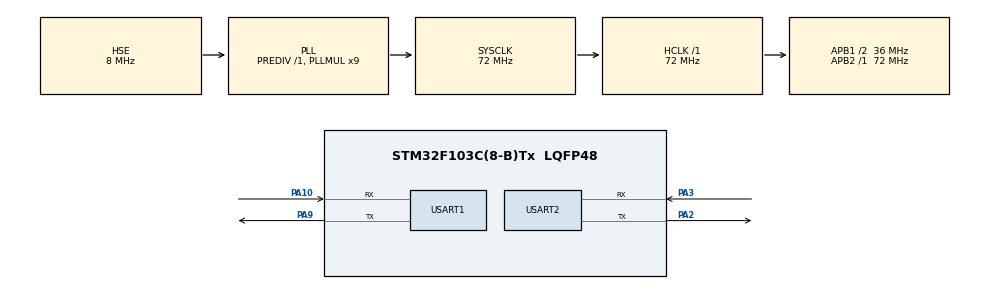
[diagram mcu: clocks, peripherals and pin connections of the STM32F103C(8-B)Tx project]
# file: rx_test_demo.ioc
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Dma.Request0=USART1_RX
Dma.Request1=USART2_RX
Dma.Request2=USART2_TX
Dma.USART1_RX.0.Direction=DMA_PERIPH_TO_MEMORY
Dma.USART1_RX.0.Instance=DMA1_Channel5
Dma.USART1_RX.0.MemDataAlignment=DMA_MDATAALIGN_BYTE
Dma.USART1_RX.0.MemInc=DMA_MINC_ENABLE
Dma.USART1_RX.0.Mode=DMA_NORMAL
Dma.USART1_RX.0.PeriphDataAlignment=DMA_PDATAALIGN_BYTE
Dma.USART1_RX.0.PeriphInc=DMA_PINC_DISABLE
Dma.USART1_RX.0.Priority=DMA_PRIORITY_LOW
Dma.USART2_RX.1.Direction=DMA_PERIPH_TO_MEMORY
Dma.USART2_RX.1.Instance=DMA1_Channel6
Dma.USART2_RX.1.MemDataAlignment=DMA_MDATAALIGN_BYTE
Dma.USART2_RX.1.MemInc=DMA_MINC_ENABLE
Dma.USART2_RX.1.Mode=DMA_NORMAL
Dma.USART2_RX.1.PeriphDataAlignment=DMA_PDATAALIGN_BYTE
Dma.USART2_RX.1.PeriphInc=DMA_PINC_DISABLE
Dma.USART2_RX.1.Priority=DMA_PRIORITY_LOW
Dma.USART2_TX.2.Direction=DMA_MEMORY_TO_PERIPH
Dma.USART2_TX.2.Instance=DMA1_Channel7
Dma.USART2_TX.2.MemDataAlignment=DMA_MDATAALIGN_BYTE
Dma.USART2_TX.2.MemInc=DMA_MINC_ENABLE
Dma.USART2_TX.2.Mode=DMA_NORMAL
Dma.USART2_TX.2.PeriphDataAlignment=DMA_PDATAALIGN_BYTE
Dma.USART2_TX.2.PeriphInc=DMA_PINC_DISABLE
Dma.USART2_TX.2.Priority=DMA_PRIORITY_LOW
Mcu.Family=STM32F1
Mcu.Name=STM32F103C(8-B)Tx
Mcu.Package=LQFP48
NVIC.DMA1_Channel5_IRQn=true\:0\:0\:false\:false\:true\:false\:true\:true
NVIC.DMA1_Channel6_IRQn=true\:0\:0\:false\:false\:true\:false\:true\:true
NVIC.DMA1_Channel7_IRQn=true\:0\:0\:false\:false\:true\:false\:true\:true
NVIC.PriorityGroup=NVIC_PRIORITYGROUP_4
NVIC.TIM1_UP_IRQn=true\:15\:0\:false\:false\:true\:false\:true\:true
NVIC.TimeBase=TIM1_UP_IRQn
NVIC.TimeBaseIP=TIM1
NVIC.USART1_IRQn=true\:5\:0\:true\:false\:true\:true\:true\:true
NVIC.USART2_IRQn=true\:0\:0\:false\:false\:true\:true\:true\:true
PA10.Mode=Asynchronous
PA10.Signal=USART1_RX
PA13.Mode=Serial_Wire
PA13.Signal=SYS_JTMS-SWDIO
PA14.Mode=Serial_Wire
PA14.Signal=SYS_JTCK-SWCLK
PA2.Mode=Asynchronous
PA2.Signal=USART2_TX
PA3.Mode=Asynchronous
PA3.Signal=USART2_RX
PA9.Mode=Asynchronous
PA9.Signal=USART1_TX
PD0-OSC_IN.Mode=HSE-External-Oscillator
PD0-OSC_IN.Signal=RCC_OSC_IN
PD1-OSC_OUT.Mode=HSE-External-Oscillator
PD1-OSC_OUT.Signal=RCC_OSC_OUT
ProjectManager.HeapSize=0x200
ProjectManager.StackSize=0x400
ProjectManager.TargetToolchain=MDK-ARM V5.32
RCC.AHBFreq_Value=72000000
RCC.APB1CLKDivider=RCC_HCLK_DIV2
RCC.APB1Freq_Value=36000000
RCC.APB1TimFreq_Value=72000000
RCC.APB2Freq_Value=72000000
RCC.APB2TimFreq_Value=72000000
RCC.HCLKFreq_Value=72000000
RCC.PLLMUL=RCC_PLL_MUL9
RCC.PLLSourceVirtual=RCC_PLLSOURCE_HSE
RCC.SYSCLKFreq_VALUE=72000000
RCC.SYSCLKSource=RCC_SYSCLKSOURCE_PLLCLK
RCC.USBFreq_Value=72000000
USART1.VirtualMode=VM_ASYNC
USART2.VirtualMode=VM_ASYNC
VP_SYS_VS_tim1.Mode=TIM1
board=custom

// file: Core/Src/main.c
/* USER CODE BEGIN Header */
/**
  ******************************************************************************
  * @file           : main.c
  * @brief          : Main program body
  ******************************************************************************
  * @attention
  *
  * Copyright (c) 2026 STMicroelectronics.
  * All rights reserved.
  *
  * This software is licensed under terms that can be found in the LICENSE file
  * in the root directory of this software component.
  * If no LICENSE file comes with this software, it is provided AS-IS.
  *
  ******************************************************************************
  */
/* USER CODE END Header */
#include "main.h"
#include "dma.h"
#include "usart.h"
#include "gpio.h"

/* USER CODE BEGIN Includes */

#define RX_BUF_SIZE 128
uint8_t rx_buffer[RX_BUF_SIZE];
uint16_t rx_len = 0;          // �ĳ�16λ����ȫ
uint8_t rx_flag = 0;
uint16_t bag_cnt=0;
uint16_t cor_bag_cnt=0;
/* USER CODE END Includes */

void SystemClock_Config(void);

int main(void)
{

  /* MCU Configuration--------------------------------------------------------*/

  /* Reset of all peripherals, Initializes the Flash interface and the Systick. */
  HAL_Init();

  /* Configure the system clock */
  SystemClock_Config();

  /* Initialize all configured peripherals */
  MX_GPIO_Init();
  MX_DMA_Init();
  MX_USART1_UART_Init();
  MX_USART2_UART_Init();
  /* USER CODE BEGIN 2 */
  HAL_UARTEx_ReceiveToIdle_DMA(&huart2, rx_buffer, RX_BUF_SIZE);
	uint8_t tx_buf[5]={0x05,0x04,0x03,0x02,0x01};
	HAL_UART_Transmit(&huart2,tx_buf,sizeof(tx_buf),HAL_MAX_DELAY);
  /* USER CODE END 2 */

  /* Infinite loop */
  while (1)
  {

    /* USER CODE BEGIN 3 */
		if(rx_flag==1)
		{
			rx_flag=0;
//			HAL_UART_Transmit(&huart2,rx_buffer,rx_len,100);

		}
  }
  /* USER CODE END 3 */
}

void SystemClock_Config(void)
{
  RCC_OscInitTypeDef RCC_OscInitStruct = {0};
  RCC_ClkInitTypeDef RCC_ClkInitStruct = {0};

  /** Initializes the RCC Oscillators according to the specified parameters
  * in the RCC_OscInitTypeDef structure.
  */
  RCC_OscInitStruct.OscillatorType = RCC_OSCILLATORTYPE_HSE;
  RCC_OscInitStruct.HSEState = RCC_HSE_ON;
  RCC_OscInitStruct.HSEPredivValue = RCC_HSE_PREDIV_DIV1;
  RCC_OscInitStruct.HSIState = RCC_HSI_ON;
  RCC_OscInitStruct.PLL.PLLState = RCC_PLL_ON;
  RCC_OscInitStruct.PLL.PLLSource = RCC_PLLSOURCE_HSE;
  RCC_OscInitStruct.PLL.PLLMUL = RCC_PLL_MUL9;
  if (HAL_RCC_OscConfig(&RCC_OscInitStruct) != HAL_OK)
  {
    Error_Handler();
  }

  /** Initializes the CPU, AHB and APB buses clocks
  */
  RCC_ClkInitStruct.ClockType = RCC_CLOCKTYPE_HCLK|RCC_CLOCKTYPE_SYSCLK
                              |RCC_CLOCKTYPE_PCLK1|RCC_CLOCKTYPE_PCLK2;
  RCC_ClkInitStruct.SYSCLKSource = RCC_SYSCLKSOURCE_PLLCLK;
  RCC_ClkInitStruct.AHBCLKDivider = RCC_SYSCLK_DIV1;
  RCC_ClkInitStruct.APB1CLKDivider = RCC_HCLK_DIV2;
  RCC_ClkInitStruct.APB2CLKDivider = RCC_HCLK_DIV1;

  if (HAL_RCC_ClockConfig(&RCC_ClkInitStruct, FLASH_LATENCY_2) != HAL_OK)
  {
    Error_Handler();
  }
}

/* USER CODE BEGIN 4 */
void HAL_UARTEx_RxEventCallback(UART_HandleTypeDef *huart_, uint16_t size_)
{
    rx_len = size_;
		rx_flag = 1;
    bag_cnt++;
			if(rx_buffer[0]==0x01&&rx_buffer[1]==0x02&&rx_buffer[2]==0x03&&rx_buffer[3]==0x04&&rx_buffer[4]==0x05)
			{
				cor_bag_cnt++;
			}
}

void HAL_UART_ErrorCallback(UART_HandleTypeDef *huart)
{

	 HAL_UARTEx_ReceiveToIdle_DMA(&huart2, rx_buffer, RX_BUF_SIZE);
}

/* USER CODE END 4 */

void HAL_TIM_PeriodElapsedCallback(TIM_HandleTypeDef *htim)
{
  if (htim->Instance == TIM1)
  {
    HAL_IncTick();
  }
}

void Error_Handler(void)
{
  __disable_irq();
  while (1)
  {
  }
}
